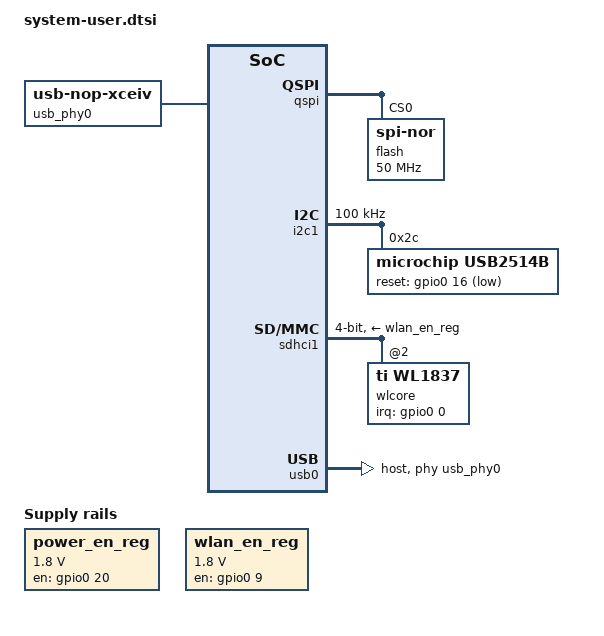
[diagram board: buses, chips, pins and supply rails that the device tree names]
#include <dt-bindings/gpio/gpio.h>
#include <dt-bindings/interrupt-controller/irq.h>

/include/ "system-conf.dtsi"
/ {
    // POWER EN
    power_en_reg: fixed-regulator-powen {
        compatible = "regulator-fixed";
        regulator-name = "power-en-regulator";
        gpio = <&gpio0 20 GPIO_ACTIVE_HIGH>;
        regulator-min-microvolt = <1800000>;
        regulator-max-microvolt = <1800000>;
        startup-delay-us = <70000>;
        regulator-always-on;
        enable-active-high;
    };

    wlan_en_reg: fixedregulator@2 {
        compatible = "regulator-fixed";
        regulator-name = "wlan-en-regulator";
        regulator-min-microvolt = <1800000>;
        regulator-max-microvolt = <1800000>;
        startup-delay-us = <70000>;

        // WLAN_EN GPIO for this board
        gpio = <&gpio0 9 GPIO_ACTIVE_HIGH>;
        enable-active-high;
    };

	// USB
    usb_phy0: phy0 {
        compatible = "usb-nop-xceiv";
        #phy-cells = <0>;
        view-port = <0x170>;
        drv-vbus;
    };
};

&qspi {
    // QSPI
    status = "okay";
    is-dual = <0>;
    num-cs = <1>;
    xlnx,qspi-mode = <1>;

    flash@0 {
        #address-cells = <1>;
        #size-cells =<1>;
        compatible = "jedec,spi-nor";
        reg = <0>;
        spi-max-frequency = <50000000>;
        m25p,fast-read;
    };
};

&i2c1 {
    status = "okay";
    clock-frequency = <100000>;
    #address-cells = <1>;
    #size-cells = <0>;

    usb2514b@2c {
        compatible = "microchip,usb2514b";
        reg = <0x2c>;
        reset-gpios = <&gpio0 16 GPIO_ACTIVE_LOW>;
    };
};

&sdhci1 {
    // Wi-Fi
    vmmc-supply = <&wlan_en_reg>;
    bus-width = <4>;
    cap-power-off-card;
    keep-power-in-suspend;
    #address-cells = <1>;
    #size-cells = <0>;

    wlcore: wlcore@2 {
        compatible = "ti,wl1837";
        reg = <2>;
        interrupt-parent = <&gpio0>;
        interrupts = <0 IRQ_TYPE_LEVEL_HIGH>;
    };
};

&usb0 {
    status = "okay";
    dr_mode = "host";
    usb-phy = <&usb_phy0>;
};
